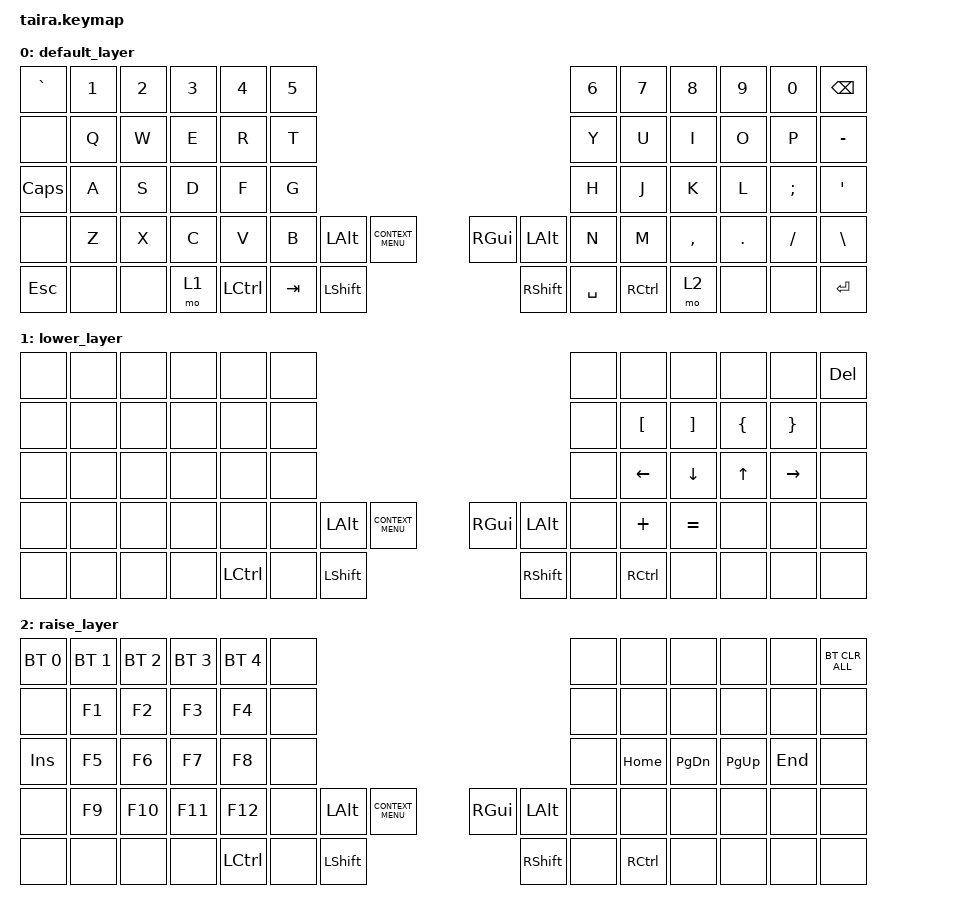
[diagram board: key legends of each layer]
/*
 * Copyright (c) 2020 The ZMK Contributors
 *
 * SPDX-License-Identifier: MIT
 */

#include <behaviors.dtsi>
#include <dt-bindings/zmk/bt.h>
#include <dt-bindings/zmk/keys.h>

#define DEFAULT 0
#define LOWER   1
#define RAISE   2
#define ADJUST  3
#define HYPER   4
#define GAME    5

/ {
    behaviors {
        hm: homerow_mods {
            compatible = "zmk,behavior-hold-tap";
            label = "HOMEROW_MODS";
            #binding-cells = <2>;
            tapping-term-ms = <200>;
            quick-tap-ms = <(-1)>;
            flavor = "tap-preferred";
            bindings = <&kp>, <&kp>;
        };
    };

    conditional_layers { compatible = "zmk,conditional-layers"; };

    keymap {
        compatible = "zmk,keymap";

        default_layer {
            bindings = <
&kp GRAVE  &kp N1  &kp N2  &kp N3  &kp N4  &kp N5                                                                                &kp N6  &kp N7  &kp N8     &kp N9   &kp N0         &kp BACKSPACE
&none      &kp Q   &kp W   &kp E   &kp R   &kp T                                                                                 &kp Y   &kp U   &kp I      &kp O    &kp P          &kp MINUS
&kp CAPS   &kp A   &kp S   &kp D   &kp F   &kp G                                                                                 &kp H   &kp J   &kp K      &kp L    &kp SEMICOLON  &kp SQT
&none      &kp Z   &kp X   &kp C   &kp V   &kp B              &kp LALT  &kp K_CONTEXT_MENU  &kp RIGHT_GUI  &kp LALT              &kp N   &kp M   &kp COMMA  &kp DOT  &kp SLASH      &kp BACKSLASH
&kp ESC    &none   &none   &mo 1                   &kp LCTRL  &kp TAB   &kp LSHIFT          &kp RSHIFT     &kp SPACE  &kp RCTRL                  &mo 2      &none    &none          &kp ENTER
            >;
        };

        lower_layer {
            bindings = <
&none  &none  &none  &none  &none  &none                                                                                     &none  &none             &none              &none           &none            &kp DEL
&none  &none  &none  &none  &none  &none                                                                                     &none  &kp LEFT_BRACKET  &kp RIGHT_BRACKET  &kp LEFT_BRACE  &kp RIGHT_BRACE  &none
&none  &none  &none  &none  &none  &none                                                                                     &none  &kp LEFT_ARROW    &kp DOWN_ARROW     &kp UP_ARROW    &kp RIGHT_ARROW  &none
&none  &none  &none  &none  &none  &none             &kp LALT  &kp K_CONTEXT_MENU  &kp RIGHT_GUI    &kp LEFT_ALT             &none  &kp PLUS          &kp EQUAL          &none           &none            &none
&none  &none  &none  &none                &kp LCTRL  &none     &kp LEFT_SHIFT      &kp RIGHT_SHIFT  &none         &kp RCTRL                           &none              &none           &none            &none
            >;
        };

        raise_layer {
            bindings = <
&bt BT_SEL 0  &bt BT_SEL 1  &bt BT_SEL 2  &bt BT_SEL 3  &bt BT_SEL 4  &none                                                                           &none  &none     &none          &none        &none    &bt BT_CLR_ALL
&none         &kp F1        &kp F2        &kp F3        &kp F4        &none                                                                           &none  &none     &none          &none        &none    &none
&kp INSERT    &kp F5        &kp F6        &kp F7        &kp F8        &none                                                                           &none  &kp HOME  &kp PAGE_DOWN  &kp PAGE_UP  &kp END  &none
&none         &kp F9        &kp F10       &kp F11       &kp F12       &none             &kp LALT  &kp K_CONTEXT_MENU  &kp RGUI   &kp LALT             &none  &none     &none          &none        &none    &none
&none         &none         &none         &none                              &kp LCTRL  &none     &kp LSHFT           &kp RSHFT  &none     &kp RCTRL                   &none          &none        &none    &none
            >;
        };
    };
};
